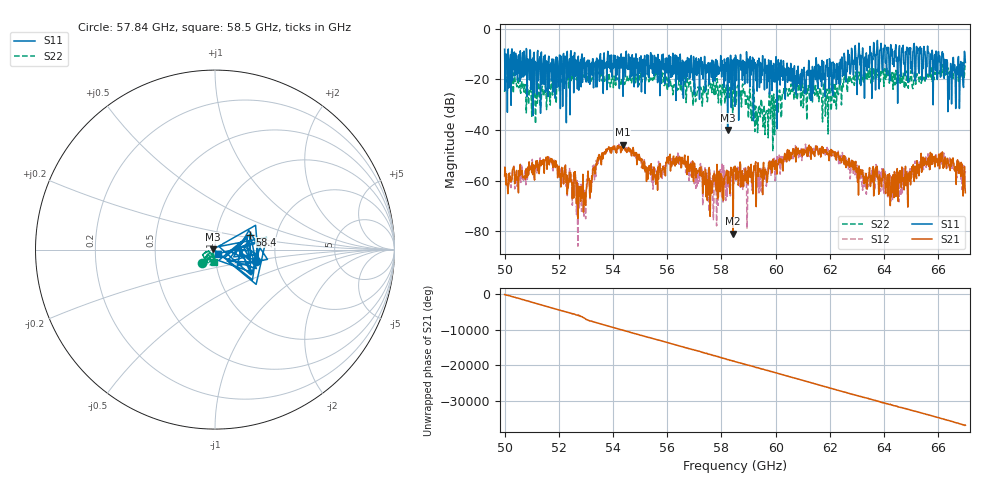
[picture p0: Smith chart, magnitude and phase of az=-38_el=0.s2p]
!Created with skrf (http://scikit-rf.org).
# GHz S RI R 50.0
!freq ReS11 ImS11 ReS21 ImS21 ReS12 ImS12 ReS22 ImS22
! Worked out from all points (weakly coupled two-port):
!   1001 points, 50 GHz to 67 GHz, reference 50 ohm
!   highest |S21| = -45.77 dB at 54.35 GHz (marker M1); lowest = -81.0 dB at 58.43 GHz (marker M2)
!   lowest |S11| = -40.0 dB at 58.23 GHz (marker M3), VSWR 1.02, Z = 49 + j0.175 ohm
!   |S11| at or under -10 dB: 51.36 GHz to 52.17 GHz (809.7 MHz wide, 1.56 % of centre); 56.48 GHz to 58.92 GHz (2.446 GHz wide, 4.24 % of centre); 58.93 GHz to 62.53 GHz (3.598 GHz wide, 5.93 % of centre) (the widest 3 of 66)
!   |S22| runs from -48.4 to -13.3 dB; largest |S21 - S12| = 0.0022
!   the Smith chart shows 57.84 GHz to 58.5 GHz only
!   S11 on the Smith chart (normalised r, x): 57.84 GHz: 1.57, -0.20; 58.4 GHz: 1.45, +0.26; 58.5 GHz: 1.04, -0.05
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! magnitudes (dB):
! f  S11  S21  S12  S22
! 50 GHz  -8.0  -58.0  -54.4  -24.9
! 50.15 GHz  -23.3  -61.2  -61.4  -20.4
! 51.07 GHz  -9.7  -53.8  -53.7  -25.8
! 51.67 GHz  -14.4  -52.0  -52.2  -27.4
! 52.84 GHz  -11.2  -67.0  -72.1  -20.0
! 53.55 GHz  -17.9  -52.1  -51.8  -16.5
! 54.35 GHz  -11.3  -45.8  -46.8  -19.0
! 55.68 GHz  -13.7  -59.5  -52.3  -21.2
! 56.48 GHz  -10.0  -50.9  -52.1  -22.8
! 57.84 GHz  -12.6  -53.6  -68.6  -19.6
! 58.23 GHz  -40.0  -61.2  -57.2  -24.1
! 58.4 GHz  -13.5  -58.0  -60.1  -26.5
! 58.43 GHz  -12.3  -81.0  -56.4  -26.2
! 58.5 GHz  -30.6  -54.4  -53.7  -23.4
! 59.64 GHz  -17.3  -57.4  -56.8  -33.2
! 60.34 GHz  -15.6  -49.2  -52.5  -24.9
! 61.34 GHz  -28.2  -47.5  -48.6  -27.6
! 64.18 GHz  -12.0  -59.8  -61.8  -17.7
! 66.08 GHz  -19.1  -49.2  -49.8  -15.9
! 66.44 GHz  -19.0  -56.0  -52.5  -16.5
! 66.8 GHz  -24.2  -54.3  -54.5  -14.0
! 67 GHz  -13.3  -64.7  -56.3  -14.5
